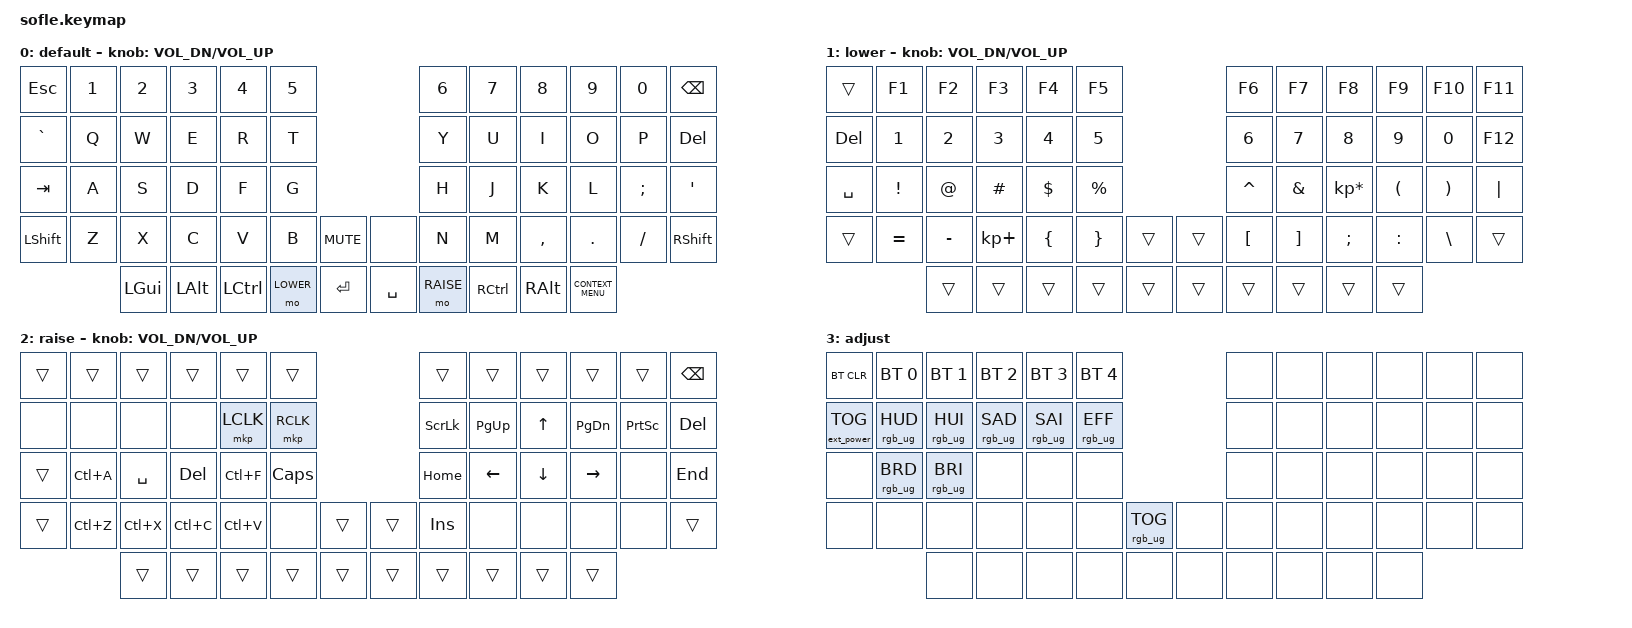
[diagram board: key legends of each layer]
/*
 * Copyright (c) 2020 The ZMK Contributors
 *
 * SPDX-License-Identifier: MIT
 */

// ZMK includes
#include <behaviors.dtsi>
#include <dt-bindings/zmk/bt.h>
#include <dt-bindings/zmk/ext_power.h>
#include <dt-bindings/zmk/keys.h>
#include <dt-bindings/zmk/rgb.h>

/* Enable keymap features that require forks */
#define HAS_UROB
#define HAS_MOUSE_KEYS
#define HAS_MOUSE_TP

// Personal includes
#include <dt-bindings/zmk/mouse.h>
#include <behaviors/mouse_move.dtsi>

#ifdef HAS_MOUSE_KEYS
    #include "includes/mouse_keys.dtsi"
#endif

#ifdef HAS_MOUSE_TP
     #include "includes/mouse_tp.dtsi"
#endif

#ifdef HAS_MOUSE_TP
  #define U_TOG_TP_SET &tog MOUSE_TP_SET
#else
  #define U_TOG_TP_SET &none
#endif  // HAS_MOUSE_TP

#define BASE 0
#define LOWER 1
#define RAISE 2
#define ADJUST 3
#define MOUSE_KEYS 4
#define MOUSE_TP 5
#define MOUSE_SET 6

/ {
    // Activate ADJUST layer by pressing raise and lower

    conditional_layers {
        compatible = "zmk,conditional-layers";

        adjust_layer {
            if-layers = <LOWER RAISE>;
            then-layer = <ADJUST>;
        };
    };

    keymap {
        compatible = "zmk,keymap";

        default_layer {
            display-name = "default";

            // ------------------------------------------------------------------------------------------------------------
            // |  ESC  |  1  |  2  |  3   |  4   |  5   |                   |  6   |  7    |  8    |  9   |   0   | BKSPC |
            // |   `   |  Q  |  W  |  E   |  R   |  T   |                   |  Y   |  U    |  I    |  O   |   P   |  DEL  |
            // |  TAB  |  A  |  S  |  D   |  F   |  G   |                   |  H   |  J    |  K    |  L   |   ;   |   '   |
            // | SHIFT |  Z  |  X  |  C   |  V   |  B   |  MUTE  |  |       |  N   |  M    |  ,    |  .   |   /   | SHIFT |
            //               | GUI | ALT  | CTRL | LOWER| ENTER  |  | SPACE | RAISE| CTRL  | ALT   | CONTEXT |

            bindings = <
&kp ESC    &kp N1  &kp N2    &kp N3    &kp N4     &kp N5                              &kp N6     &kp N7     &kp N8     &kp N9              &kp N0    &kp BSPC
&kp GRAVE  &kp Q   &kp W     &kp E     &kp R      &kp T                               &kp Y      &kp U      &kp I      &kp O               &kp P     &kp DEL
&kp TAB    &kp A   &kp S     &kp D     &kp F      &kp G                               &kp H      &kp J      &kp K      &kp L               &kp SEMI  &kp SQT
&kp LSHFT  &kp Z   &kp X     &kp C     &kp V      &kp B      &kp C_MUTE    &none      &kp N      &kp M      &kp COMMA  &kp DOT             &kp FSLH  &kp RSHFT
                   &kp LGUI  &kp LALT  &kp LCTRL  &mo LOWER  &kp RET       &kp SPACE  &mo RAISE  &kp RCTRL  &kp RALT   &kp K_CONTEXT_MENU
            >;

            //sensor-bindings = <&inc_dec_kp C_VOL_DN C_VOL_UP &inc_dec_kp PG_UP PG_DN>;
            sensor-bindings = <&inc_dec_kp C_VOL_DN C_VOL_UP>;
        };

        lower_layer {
            display-name = "lower";

            // TODO: Some binds are waiting for shifted keycode support.
            // ------------------------------------------------------------------------------------------------------------
            // |       |  F1 |  F2 |  F3  |  F4  |  F5  |                   |  F6  |  F7   |  F8   |  F9  |  F10  |  F11  |
            // |   `   |  1  |  2  |  3   |  4   |  5   |                   |  6   |  7    |  8    |  9   |   0   |  F12  |
            // |       |  !  |  @  |  #   |  $   |  %   |                   |  ^   |  &    |  *    |  (   |   )   |   |   |
            // |       |  =  |  -  |  +   |  {   |  }   |        |  |       |  [   |  ]    |  ;    |  :   |   \   |       |
            //               |     |      |      |      |        |  |       |      |       |       |      |

            bindings = <
&trans     &kp F1     &kp F2     &kp F3       &kp F4    &kp F5                       &kp F6     &kp F7    &kp F8           &kp F9     &kp F10   &kp F11
&kp DEL    &kp N1     &kp N2     &kp N3       &kp N4    &kp N5                       &kp N6     &kp N7    &kp N8           &kp N9     &kp N0    &kp F12
&kp SPACE  &kp EXCL   &kp AT     &kp HASH     &kp DLLR  &kp PRCNT                    &kp CARET  &kp AMPS  &kp KP_MULTIPLY  &kp LPAR   &kp RPAR  &kp PIPE
&trans     &kp EQUAL  &kp MINUS  &kp KP_PLUS  &kp LBRC  &kp RBRC   &trans    &trans  &kp LBKT   &kp RBKT  &kp SEMI         &kp COLON  &kp BSLH  &trans
                      &trans     &trans       &trans    &trans     &trans    &trans  &trans     &trans    &trans           &trans
            >;

            //sensor-bindings = <&inc_dec_kp C_VOL_DN C_VOL_UP &inc_dec_kp PG_UP PG_DN>;
            sensor-bindings = <&inc_dec_kp C_VOL_DN C_VOL_UP>;
        };

        raise_layer {
            display-name = "raise";

            // ------------------------------------------------------------------------------------------------------------
            // |       |      |      |       |       |      |                |      |      |       |      |       | BKSPC |
            // |       | INS  | PSCR | GUI   |  LCLK | RCLK |                | PGUP | HOME |   ^   | END  |       |  DEL  |
            // |       | ALT  | CTRL | SHIFT |       | CAPS |                | PGDN |   <- |   v   |  ->  |       |       |
            // |       | UNDO | CUT  | COPY  | PASTE |      |      |  |      |      |      |       |      |       |       |
            //                |      |       |       |      |      |  |      |      |      |       |      |

            bindings = <
&trans  &trans     &trans     &trans      &trans     &trans                      &trans          &trans     &trans    &trans     &trans           &kp BSPC
&none   &none      &none      &none       &mkp LCLK  &mkp RCLK                   &kp SCROLLLOCK  &kp PG_UP  &kp UP    &kp PG_DN  &kp PRINTSCREEN  &kp DEL
&trans  &kp LC(A)  &kp SPACE  &kp DELETE  &kp LC(F)  &kp CLCK                    &kp HOME        &kp LEFT   &kp DOWN  &kp RIGHT  &none            &kp END
&trans  &kp LC(Z)  &kp LC(X)  &kp LC(C)   &kp LC(V)  &none     &trans    &trans  &kp INS         &none      &none     &none      &none            &trans
                   &trans     &trans      &trans     &trans    &trans    &trans  &trans          &trans     &trans    &trans
            >;

            //sensor-bindings = <&inc_dec_kp C_VOL_DN C_VOL_UP &inc_dec_kp PG_UP PG_DN>;
            sensor-bindings = <&inc_dec_kp C_VOL_DN C_VOL_UP>;
        };

        adjust_layer {
            display-name = "adjust";

            // ----------------------------------------------------------------------------------------------------------------------------
            // | BTCLR  |  BT1    |  BT2    |   BT3   |   BT4   |   BT5   |                  |      |      |       |      |       |       |
            // | EXTPWR | RGB_HUD | RGB_HUI | RGB_SAD | RGB_SAI | RGB_EFF |                  |      |      |       |      |       |       |
            // |        | RGB_BRD | RGB_BRI |         |         |         |                  |      |      |       |      |       |       |
            // |        |         |         |         |         |         | RGB_TOG | |      |      |      |       |      |       |       |
            //                    |         |         |         |         |         | |      |      |      |       |      |

            bindings = <
&bt BT_CLR         &bt BT_SEL 0     &bt BT_SEL 1     &bt BT_SEL 2     &bt BT_SEL 3     &bt BT_SEL 4                               &none  &none  &none  &none  &none  &none
&ext_power EP_TOG  &rgb_ug RGB_HUD  &rgb_ug RGB_HUI  &rgb_ug RGB_SAD  &rgb_ug RGB_SAI  &rgb_ug RGB_EFF                            &none  &none  &none  &none  &none  &none
&none              &rgb_ug RGB_BRD  &rgb_ug RGB_BRI  &none            &none            &none                                      &none  &none  &none  &none  &none  &none
&none              &none            &none            &none            &none            &none            &rgb_ug RGB_TOG    &none  &none  &none  &none  &none  &none  &none
                                    &none            &none            &none            &none            &none              &none  &none  &none  &none  &none
            >;
        };

//#ifdef HAS_MOUSE_KEYS
//        MouseKeys_layer {
//            display-name = "MouseKeys";
//
//            // -----------------------------------------------------------------------------------------------------------------------------
//            // |        |         |         |          |          |         |                  |      |      |       |      |       |       |
//            // | EXTPWR |         |         |          |SCRL_DOWN |         |                  |      |      |       |      |       |       |
//            // |        |         |MOVE_LEFT|MOVE_UP   |MOVE_RIGHT|         |                  |      |      |       |      |       |       |
//            // |        |         |         |MOVE_DOWN |SCRL_UP   |         |         | |      |      |      |       |      |       |       |
//            //                    |         |MOUSE_KEYS|LCLK      |RCLK     |         | |      |MCLK  |LCLK  |RCLK   |      |
//
//            bindings = < 
//&trans             &none        &none           &none            &none            &none                       &none             &none             &none             &none             &none             &trans
//&ext_power EP_TOG  &none        &none           &none            &msc SCRL_DOWN   &none                       &none             &none             &none             &none             &none             &trans
//&trans             &none        &mmv MOVE_LEFT  &mmv MOVE_UP     &mmv MOVE_RIGHT  &none                       &none             &none             &none             &none             &none             &trans
//&trans             &none        &none           &mmv MOVE_DOWN   &msc SCRL_UP     &none       &none   &none   &none             &none             &none             &none             &none             &trans
//                                &none           &tog MOUSE_KEYS  &mkp LCLK        &mkp RCLK   &none   &none   &mkp MCLK         &mkp LCLK         &mkp RCLK         &none
//            >;
//        };
//#endif

//#ifdef HAS_MOUSE_TP
//        MouseTP_layer {
//            display-name = "TP";
//
//            // -----------------------------------------------------------------------------------------------------------------------------
//            // |         |         |         |          |          |         |                  |      |       |         |      |       |       |
//            // |MOUSE_SET|         |         |          |          |         |                  |      |MY_BACK|MY_FWD   |      |       |       |
//            // |         |         |         |SCRL_DOWN |          |         |                  |      |       |SCRL_DOWN|      |       |       |
//            // |         |         |         |SCRL_UP   |          |         |         | |      |      |       |SCRL_UP  |      |       |       |
//            //                     |         |MOUSE_TP  |          |         |         | |      |      |LCLK   |RCLK     |      |
//
//            bindings = <
//&trans          &none           &none           &none             &none           &none                    &none           &none             &none             &none             &none             &trans
//&tog MOUSE_SET  &trans          &trans          &trans            &trans          &trans                   &trans          &kp MY_BACK       &kp MY_FWD        &trans            &trans            &trans
//&trans          &trans          &trans          &msc SCRL_DOWN    &trans          &trans                   &trans          &trans            &msc SCRL_DOWN    &trans            &trans            &trans
//&trans          &trans          &trans          &msc SCRL_UP      &trans          &trans   &none   &none   &trans          &trans            &msc SCRL_UP      &trans            &trans            &trans
//                                &none           &tog MOUSE_TP     &trans          &trans   &none   &none   &trans          &mkp LCLK         &mkp RCLK         &none
//            >;
//        };

//    MouseSettings_layer {
//            display-name = "MouseSettings";
//            // -----------------------------------------------------------------------------------------------------------------------------------------
//            // |         |         |         |             |             |         |                  |      |      |       |      |       |           |
//            // |         |         |         |U_MSS_TP_S_D |U_MSS_TP_S_I |         |                  |      |      |       |      |       |U_MSS_RESET|
//            // |         |         |         |U_MSS_TP_NI_D|U_MSS_TP_NI_I|         |                  |      |      |       |      |       |U_MSS_LOG  |
//            // |         |         |         |U_MSS_TP_V6_D|U_MSS_TP_V6_I|         |         | |      |      |      |       |      |       |           |
//            //                     |         |MOUSE_SET    |LCLK         |RCLK     |         | |      |      |LCLK  |RCLK   |      |
//
//            bindings = <
//&trans        &none           &none             &none             &none             &none                          &none         &none         &none         &none         &none         &trans
//&trans        &none           &none             U_MSS_TP_S_D      U_MSS_TP_S_I      U_MSS_TP_PT_I                  &none         &none         &none         &none         &none         U_MSS_RESET
//&trans        &none           &none             U_MSS_TP_NI_D     U_MSS_TP_NI_I     U_MSS_TP_PT_D                  &none         &none         &none         &none         &none         U_MSS_LOG
//&trans        &none           &none             U_MSS_TP_V6_D     U_MSS_TP_V6_I     &none          &none   &none   &none         &none         &none         &none         &none         &trans
//                              &none             &tog MOUSE_SET    &mkp LCLK         &mkp RCLK      &none   &none   &none         &mkp LCLK     &mkp RCLK     &none 
//            >;
//        };
//#endif

    };
};
